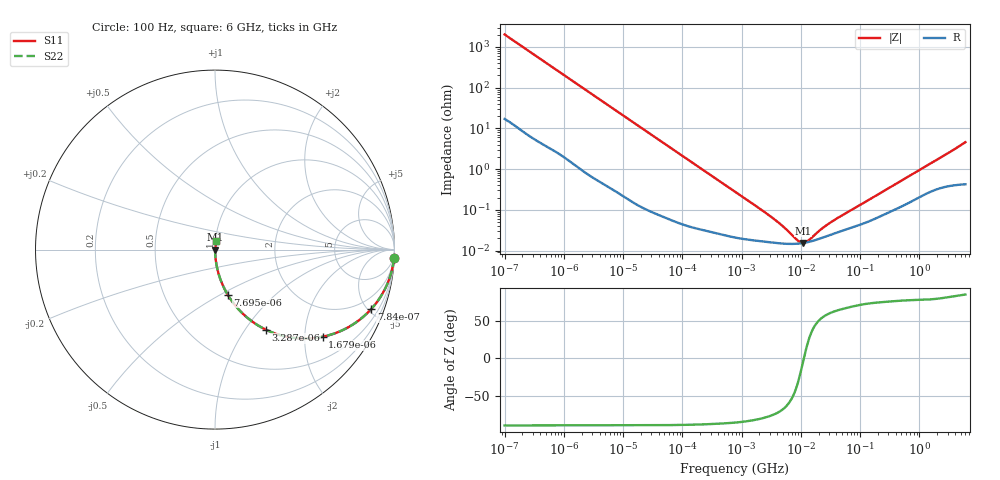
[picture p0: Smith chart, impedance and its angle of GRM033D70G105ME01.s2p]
!Murata Part Number: GRM033D70G105ME01
!These Parameters are Measured in Series Mode Connection
!Data Generated on Mar 30, 2021
!  o--ll--o
!Port1  Port2
!  o------o
!Operation Temp=25[degC], DC Bias Voltage=0[V]
!Freq. Start=100[Hz] Stop=6[GHz] 401[Steps]
# Hz S RI R 50
!Freq.(Hz) S11(Real) S11(Imag) S21(Real) S21(Imag) S12(Real) S12(Imag) S22(Real) S22(Imag)
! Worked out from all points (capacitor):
!   401 points, 100 Hz to 6 GHz, reference 50 ohm
!   read as one part in series: C = 784 nF near 109 Hz
!   lowest |Z| = 15.3 mohm at 10.87 MHz (marker M1)
!   series resonance near 11.27 MHz, so ESL is about 250 pH
!   S11 on the Smith chart (normalised r, x): 100 Hz: 1, -40; 784 Hz: 1.05, -5.22; 1.679 kHz: 1.02, -2.45; 3.287 kHz: 1.01, -1.26; 7.695 kHz: 1.01, -0.54; 6 GHz: 1.01, +0.09
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100  0.9972 -0.0492  0.00285 0.0492  0.00285 0.0492  0.9972 -0.0492
293  0.9786 -0.1405  0.0214 0.1405  0.0214 0.1405  0.9786 -0.1405
501  0.9414 -0.2305  0.0586 0.2305  0.0586 0.2305  0.9414 -0.2305
784  0.8698 -0.3318  0.1302 0.3318  0.1302 0.3318  0.8698 -0.3318
1174  0.7518 -0.4272  0.2482 0.4272  0.2482 0.4272  0.7518 -0.4272
1679  0.5996 -0.4854  0.4004 0.4854  0.4004 0.4854  0.5996 -0.4854
2008  0.5127 -0.4953  0.4873 0.4953  0.4873 0.4953  0.5127 -0.4953
3287  0.285 -0.4468  0.715 0.4468  0.715 0.4468  0.285 -0.4468
4918  0.153 -0.3551  0.847 0.3551  0.847 0.3551  0.153 -0.3551
7695  0.0701 -0.2502  0.9299 0.2502  0.9299 0.2502  0.0701 -0.2502
16473  0.0171 -0.1243  0.9829 0.1243  0.9829 0.1243  0.0171 -0.1243
40335  0.00343 -0.0517  0.9966 0.0517  0.9966 0.0517  0.00343 -0.0517
774597  0.000216 -0.00278  0.9998 0.00278  0.9998 0.00278  0.000216 -0.00278
3245845  0.000158 -0.000633  0.9998 0.000633  0.9998 0.000633  0.000158 -0.000633
5079039  0.000148 -0.000356  0.9999 0.000356  0.9999 0.000356  0.000148 -0.000356
8692127  0.000147 -0.000106  0.9999 0.000106  0.9999 0.000106  0.000147 -0.000106
1.087309e7  0.000153 -1.43e-05  0.9998 1.43e-05  0.9998 1.43e-05  0.000153 -1.43e-05
1.243624e7  0.000158 3.92e-05  0.9998 -3.92e-05  0.9998 -3.92e-05  0.000158 3.92e-05
1.555665e7  0.000171 0.000128  0.9998 -0.000128  0.9998 -0.000128  0.000171 0.000128
3.482834e7  0.000255 0.00047  0.9997 -0.00047  0.9997 -0.00047  0.000255 0.00047
3.124326e8  0.000886 0.00335  0.9991 -0.00335  0.9991 -0.00335  0.000886 0.00335
6e9  0.00628 0.0452  0.9937 -0.0452  0.9937 -0.0452  0.00628 0.0452
